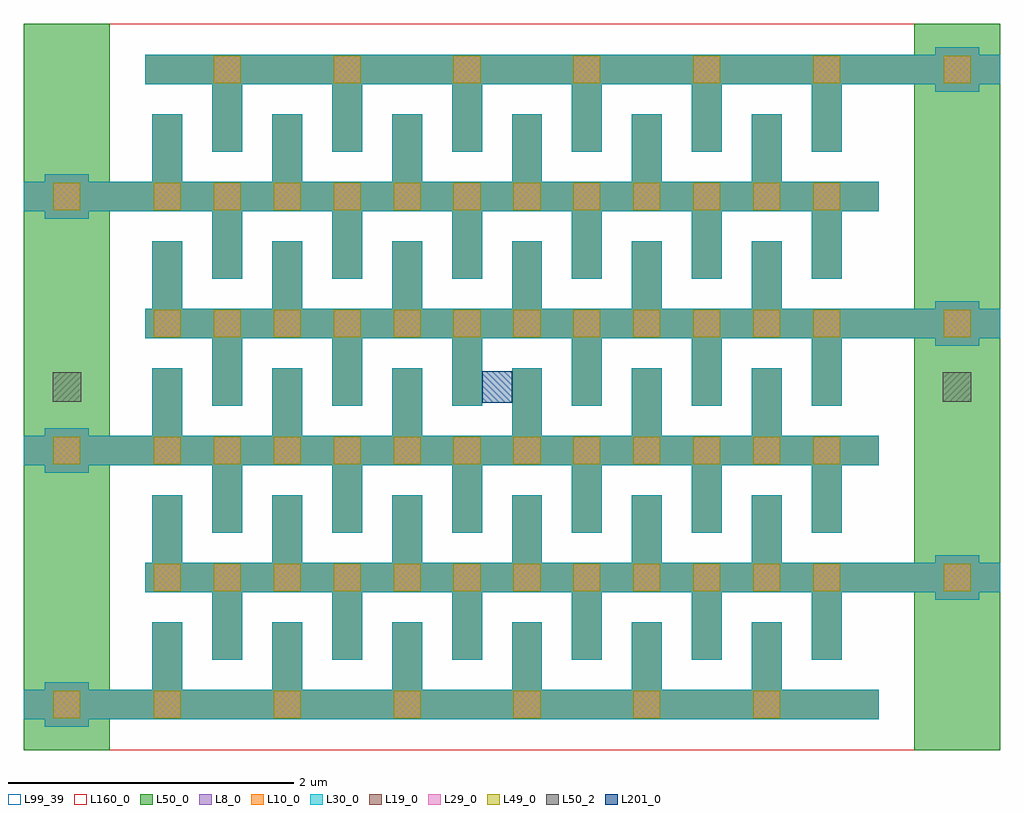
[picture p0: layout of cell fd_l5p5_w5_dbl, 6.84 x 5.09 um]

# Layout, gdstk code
import gdstk
lib = gdstk.Library(unit=1e-6, precision=1e-09)
def R(c, l, rs):  # rectangles x0, y0, x1, y1
    for r in rs: c.add(gdstk.rectangle(r[:2], r[2:], *l))
def A(c, l, x, y, w, h, nx, ny, dx, dy):  # array of equal rectangles
    R(c, l, [(x+i*dx, y+j*dy, x+i*dx+w, y+j*dy+h) for i in range(nx) for j in range(ny)])
L8_0 = (8, 0)
L10_0 = (10, 0)
L19_0 = (19, 0)
L29_0 = (29, 0)
L30_0 = (30, 0)
L49_0 = (49, 0)
L50_0 = (50, 0)
L50_2 = (50, 2)
L99_39 = (99, 39)
L160_0 = (160, 0)
L201_0 = (201, 0)

fd_l5p5_w5_dbl = lib.new_cell('fd_l5p5_w5_dbl')
A(fd_l5p5_w5_dbl, L8_0, -0.755, -0.155, 0.31, 0.31, 1, 3, 0, 1.78)
A(fd_l5p5_w5_dbl, L8_0, -0.9, -0.105, 5.99, 0.21, 1, 3, 0, 1.78)
A(fd_l5p5_w5_dbl, L8_0, 0, 0, 0.21, 0.575, 6, 5, 0.84, 0.89)
A(fd_l5p5_w5_dbl, L8_0, 0.42, 0.315, 0.21, 0.575, 6, 5, 0.84, 0.89)
A(fd_l5p5_w5_dbl, L8_0, 5.485, 0.735, 0.31, 0.31, 1, 3, 0, 1.78)
A(fd_l5p5_w5_dbl, L8_0, -0.05, 0.785, 5.99, 0.21, 1, 3, 0, 1.78)
A(fd_l5p5_w5_dbl, L10_0, -0.755, -0.155, 0.31, 0.31, 1, 3, 0, 1.78)
A(fd_l5p5_w5_dbl, L10_0, -0.9, -0.105, 5.99, 0.21, 1, 3, 0, 1.78)
A(fd_l5p5_w5_dbl, L10_0, 0, 0, 0.21, 0.575, 6, 5, 0.84, 0.89)
A(fd_l5p5_w5_dbl, L10_0, 0.42, 0.315, 0.21, 0.575, 6, 5, 0.84, 0.89)
A(fd_l5p5_w5_dbl, L10_0, 5.485, 0.735, 0.31, 0.31, 1, 3, 0, 1.78)
A(fd_l5p5_w5_dbl, L10_0, -0.05, 0.785, 5.99, 0.21, 1, 3, 0, 1.78)
A(fd_l5p5_w5_dbl, L19_0, -0.695, -0.095, 0.19, 0.19, 1, 3, 0, 1.78)
A(fd_l5p5_w5_dbl, L19_0, 0.01, -0.095, 0.19, 0.19, 6, 1, 0.84, 0)
A(fd_l5p5_w5_dbl, L19_0, 0.01, 0.795, 0.19, 0.19, 12, 4, 0.42, 0.89)
A(fd_l5p5_w5_dbl, L19_0, 5.545, 0.795, 0.19, 0.19, 1, 3, 0, 1.78)
A(fd_l5p5_w5_dbl, L19_0, 0.43, 4.355, 0.19, 0.19, 6, 1, 0.84, 0)
A(fd_l5p5_w5_dbl, L29_0, -0.695, -0.095, 0.19, 0.19, 1, 3, 0, 1.78)
A(fd_l5p5_w5_dbl, L29_0, 0.01, -0.095, 0.19, 0.19, 6, 1, 0.84, 0)
A(fd_l5p5_w5_dbl, L29_0, 0.01, 0.795, 0.19, 0.19, 12, 4, 0.42, 0.89)
A(fd_l5p5_w5_dbl, L29_0, 5.545, 0.795, 0.19, 0.19, 1, 3, 0, 1.78)
A(fd_l5p5_w5_dbl, L29_0, 0.43, 4.355, 0.19, 0.19, 6, 1, 0.84, 0)
A(fd_l5p5_w5_dbl, L30_0, -0.755, -0.155, 0.31, 0.31, 1, 3, 0, 1.78)
A(fd_l5p5_w5_dbl, L30_0, -0.9, -0.105, 5.99, 0.21, 1, 3, 0, 1.78)
A(fd_l5p5_w5_dbl, L30_0, 0, 0, 0.21, 0.575, 6, 5, 0.84, 0.89)
A(fd_l5p5_w5_dbl, L30_0, 0.42, 0.315, 0.21, 0.575, 6, 5, 0.84, 0.89)
A(fd_l5p5_w5_dbl, L30_0, 5.485, 0.735, 0.31, 0.31, 1, 3, 0, 1.78)
A(fd_l5p5_w5_dbl, L30_0, -0.05, 0.785, 5.99, 0.21, 1, 3, 0, 1.78)
A(fd_l5p5_w5_dbl, L49_0, -0.695, -0.095, 0.19, 0.19, 1, 3, 0, 1.78)
A(fd_l5p5_w5_dbl, L49_0, 0.01, -0.095, 0.19, 0.19, 6, 1, 0.84, 0)
A(fd_l5p5_w5_dbl, L49_0, 0.01, 0.795, 0.19, 0.19, 12, 4, 0.42, 0.89)
A(fd_l5p5_w5_dbl, L49_0, 5.545, 0.795, 0.19, 0.19, 1, 3, 0, 1.78)
A(fd_l5p5_w5_dbl, L49_0, 0.43, 4.355, 0.19, 0.19, 6, 1, 0.84, 0)
A(fd_l5p5_w5_dbl, L50_0, -0.9, -0.105, 5.99, 0.21, 1, 3, 0, 1.78)
A(fd_l5p5_w5_dbl, L50_0, 0, 0, 0.21, 0.575, 6, 5, 0.84, 0.89)
A(fd_l5p5_w5_dbl, L50_0, 0.42, 0.315, 0.21, 0.575, 6, 5, 0.84, 0.89)
A(fd_l5p5_w5_dbl, L50_0, -0.05, 0.785, 5.99, 0.21, 1, 3, 0, 1.78)
R(fd_l5p5_w5_dbl, L50_0, [(-0.9,-0.32,-0.3,4.77), (5.34,-0.32,5.94,4.77)])
R(fd_l5p5_w5_dbl, L50_2, [(-0.7,2.12,-0.5,2.33), (5.54,2.12,5.74,2.33)])
R(fd_l5p5_w5_dbl, L99_39, [(-0.9,-0.32,5.94,4.77)])
R(fd_l5p5_w5_dbl, L160_0, [(-0.9,-0.32,5.94,4.77)])
R(fd_l5p5_w5_dbl, L201_0, [(2.31,2.115,2.52,2.335)])
fd_l5p5_w5_dbl.add(gdstk.Label('cap_cmomi C=24.447fF', (-0.9,-0.82), layer=63, texttype=0))

lib.write_gds('fd_l5p5_w5_dbl.gds')
